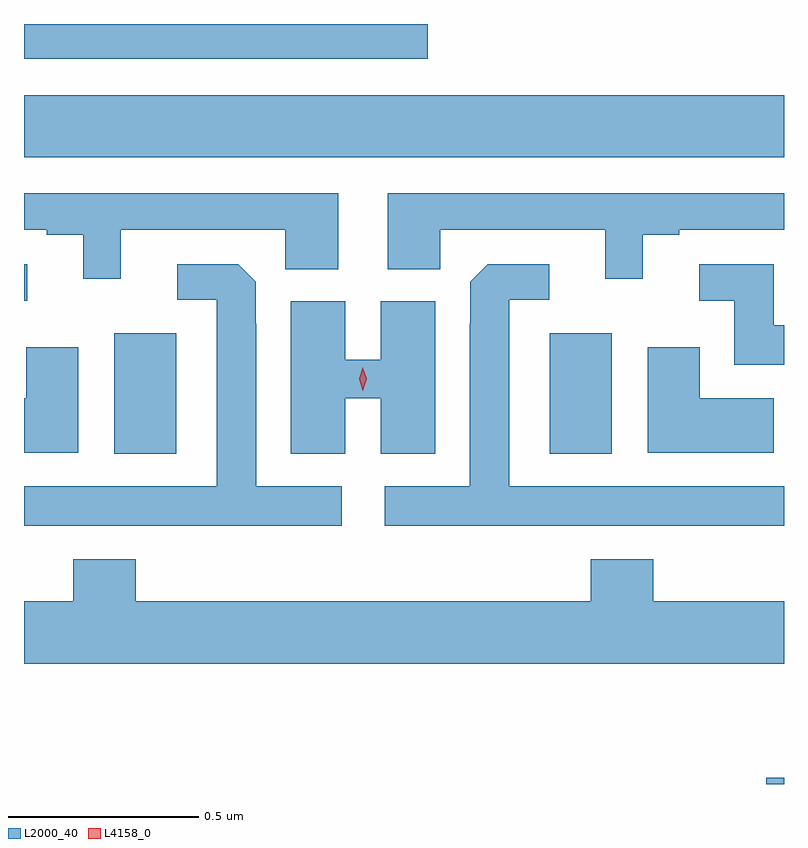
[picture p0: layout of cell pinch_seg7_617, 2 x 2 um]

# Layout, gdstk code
import gdstk
lib = gdstk.Library(unit=1e-6, precision=1e-09)
def R(c, l, rs):  # rectangles x0, y0, x1, y1
    for r in rs: c.add(gdstk.rectangle(r[:2], r[2:], *l))
def P(c, l, *ps):  # polygons
    for p in ps: c.add(gdstk.Polygon(p, *l))
L2000_40 = (2000, 40)
L4158_0 = (4158, 0)

pinch_seg7_617 = lib.new_cell('pinch_seg7_617')
R(pinch_seg7_617, L2000_40, [(212.549,1045.587,212.596,1045.603), (210.833,1046.456,210.997,1046.773), (211.979,1046.456,212.143,1046.773), (210.596,1046.859,210.604,1046.955), (210.596,1047.236,212.596,1047.4), (210.596,1047.495,211.658,1047.587)])
P(pinch_seg7_617, L2000_40, [(210.85,1047.045),(211.284,1047.045),(211.284,1046.942),(211.423,1046.942),(211.423,1047.141),(210.596,1047.141),(210.596,1047.045),(210.656,1047.045),(210.656,1047.033),(210.752,1047.033),(210.752,1046.916),(210.85,1046.916)],
  [(212.224,1047.033),(212.32,1047.033),(212.32,1047.045),(212.596,1047.045),(212.596,1047.141),(211.553,1047.141),(211.553,1046.942),(211.692,1046.942),(211.692,1047.045),(212.126,1047.045),(212.126,1046.916),(212.224,1046.916)],
  [(211.432,1046.371),(211.207,1046.371),(211.207,1046.798),(211.206,1046.798),(211.206,1046.909),(211.16,1046.955),(210.999,1046.955),(210.999,1046.862),(211.103,1046.862),(211.103,1046.371),(210.596,1046.371),(210.596,1046.267),(211.432,1046.267)],
  [(212.596,1046.794),(212.569,1046.794),(212.569,1046.955),(212.373,1046.955),(212.373,1046.859),(212.465,1046.859),(212.465,1046.69),(212.596,1046.69)],
  [(212.596,1046.371),(211.873,1046.371),(211.873,1046.862),(211.978,1046.862),(211.978,1046.955),(211.816,1046.955),(211.77,1046.909),(211.77,1046.798),(211.769,1046.798),(211.769,1046.371),(211.545,1046.371),(211.545,1046.267),(212.596,1046.267)],
  [(211.441,1046.602),(211.535,1046.602),(211.535,1046.456),(211.678,1046.456),(211.678,1046.857),(211.535,1046.857),(211.535,1046.703),(211.441,1046.703),(211.441,1046.857),(211.298,1046.857),(211.298,1046.456),(211.441,1046.456)],
  [(210.739,1046.737),(210.602,1046.737),(210.602,1046.602),(210.596,1046.602),(210.596,1046.459),(210.739,1046.459)],
  [(212.569,1046.602),(212.374,1046.602),(212.374,1046.737),(212.237,1046.737),(212.237,1046.459),(212.569,1046.459)],
  [(212.596,1046.068),(212.252,1046.068),(212.252,1046.179),(212.087,1046.179),(212.087,1046.068),(210.89,1046.068),(210.89,1046.179),(210.725,1046.179),(210.725,1046.068),(210.596,1046.068),(210.596,1045.904),(212.596,1045.904)])
P(pinch_seg7_617, L4158_0, [(211.488,1046.622),(211.488,1046.622),(211.478,1046.653),(211.488,1046.683),(211.488,1046.684),(211.488,1046.683),(211.498,1046.653),(211.488,1046.622)])

lib.write_gds('pinch_seg7_617.gds')
